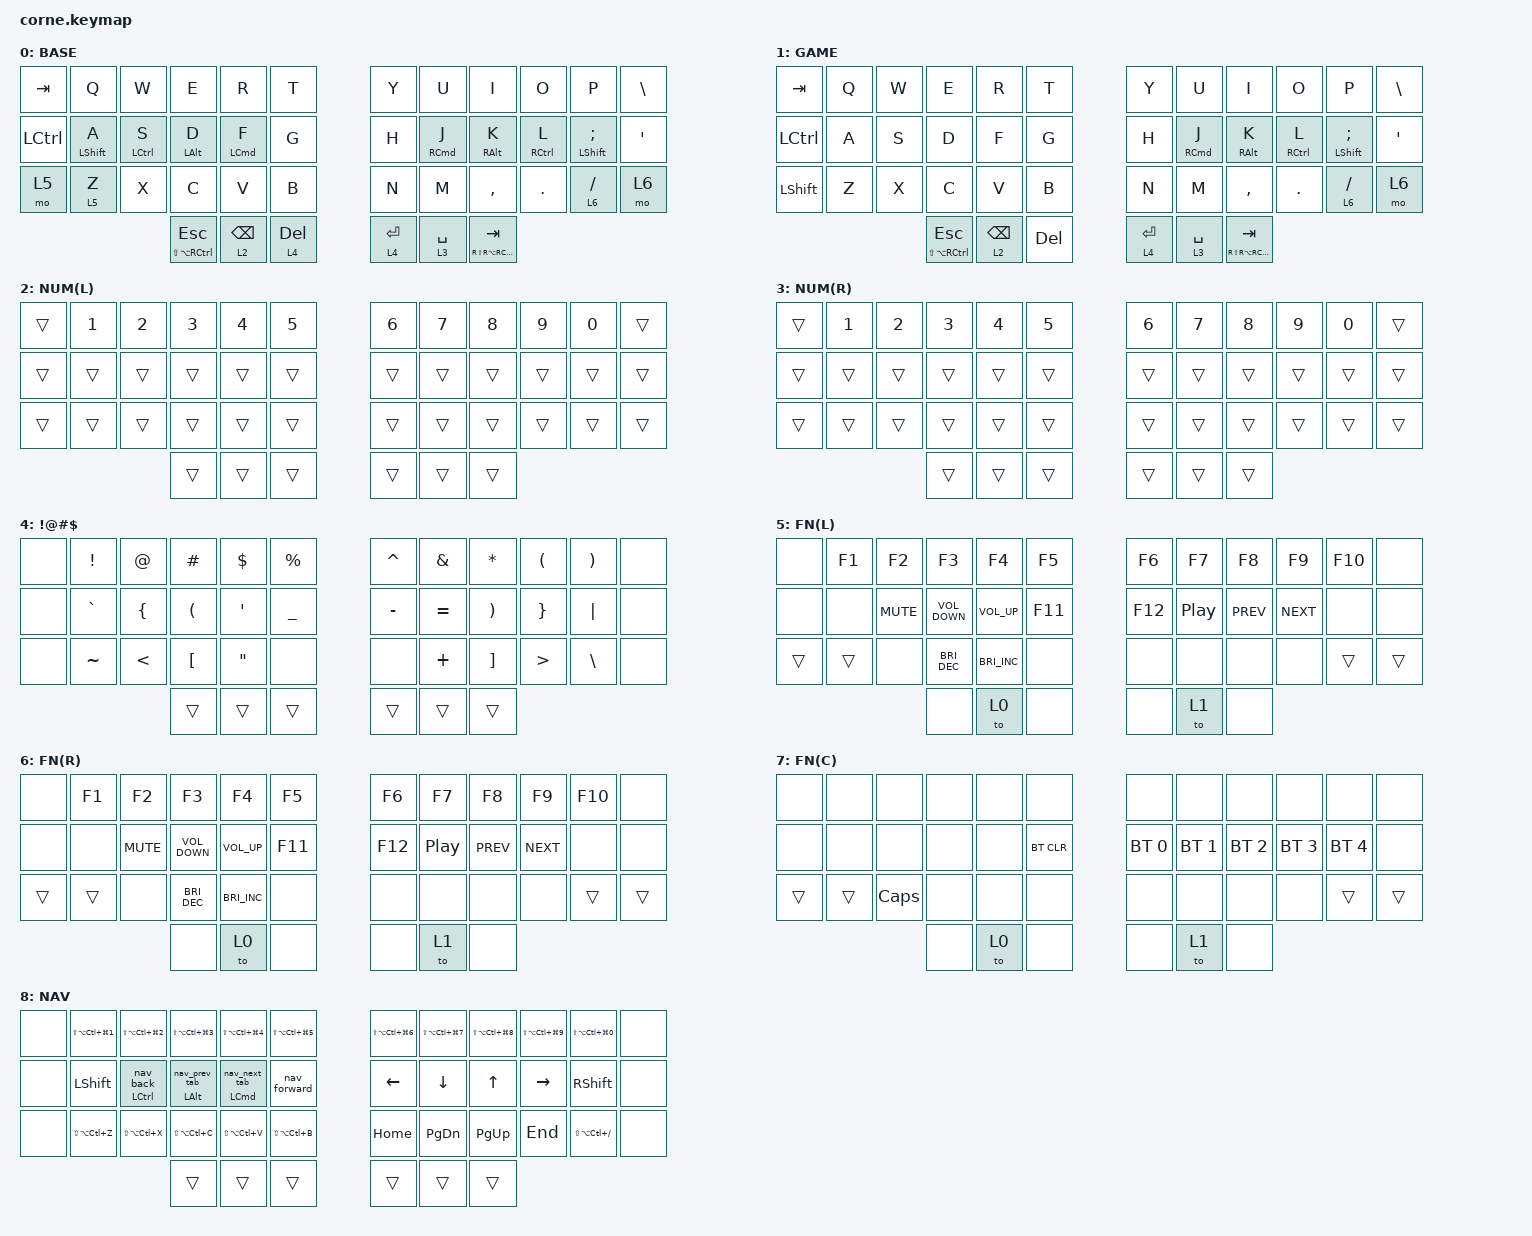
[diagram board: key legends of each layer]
/*
 * Copyright (c) 2020 The ZMK Contributors
 *
 * SPDX-License-Identifier: MIT
 */

#include <behaviors.dtsi>
#include <dt-bindings/zmk/bt.h>
#include <dt-bindings/zmk/keys.h>

&lt {
    tapping-term-ms = <250>;
    flavor = "balanced";
    quick-tap-ms = <220>;
    hold-trigger-on-release;
};

&mt {
    hold-trigger-on-release;
    tapping-term-ms = <275>;
    quick-tap-ms = <275>;
    require-prior-idle-ms = <100>;
    flavor = "balanced";
};

/ {
    behaviors {
        hml: hml {
            compatible = "zmk,behavior-hold-tap";
            label = "HOME_ROW_MODS_LEFT";
            bindings = <&kp>, <&kp>;

            #binding-cells = <2>;
            tapping-term-ms = <250>;
            flavor = "balanced";
            quick-tap-ms = <220>;
            require-prior-idle-ms = <100>;
            hold-trigger-on-release;
            hold-trigger-key-positions = <6 7 8 9 10 11 18 19 20 21 22 23 30 31 32 33 34 35 39 40 41>;
        };

        hmr: hmr {
            compatible = "zmk,behavior-hold-tap";
            label = "HOME_ROW_MODS_RIGHT";
            bindings = <&kp>, <&kp>;

            #binding-cells = <2>;
            tapping-term-ms = <250>;
            flavor = "balanced";
            hold-trigger-on-release;
            quick-tap-ms = <220>;
            require-prior-idle-ms = <100>;
            hold-trigger-key-positions = <0 1 2 3 4 5 12 13 14 15 16 17 24 25 26 27 28 29 36 37 38>;
        };

        hnpt: hnpt {
            compatible = "zmk,behavior-hold-tap";
            label = "HRM Nav Prev Tab";
            bindings = <&kp>, <&nav_prev_tab>;

            #binding-cells = <2>;
            tapping-term-ms = <275>;
            flavor = "balanced";
            quick-tap-ms = <275>;
            require-prior-idle-ms = <100>;
            hold-trigger-on-release;
            hold-trigger-key-positions = <6 7 8 9 10 11 18 19 20 21 22 23 30 31 32 33 34 35 39 40 41>;
        };

        hnnt: hnnt {
            compatible = "zmk,behavior-hold-tap";
            label = "HRM Nav Next Tab";
            bindings = <&kp>, <&nav_next_tab>;

            #binding-cells = <2>;
            tapping-term-ms = <275>;
            flavor = "balanced";
            quick-tap-ms = <275>;
            require-prior-idle-ms = <100>;
            hold-trigger-on-release;
            hold-trigger-key-positions = <6 7 8 9 10 11 18 19 20 21 22 23 30 31 32 33 34 35 39 40 41>;
        };

        hnb: hnb {
            compatible = "zmk,behavior-hold-tap";
            label = "HRM Nav Back";
            bindings = <&kp>, <&nav_back>;

            #binding-cells = <2>;
            tapping-term-ms = <275>;
            flavor = "balanced";
            quick-tap-ms = <275>;
            require-prior-idle-ms = <100>;
            hold-trigger-on-release;
            hold-trigger-key-positions = <6 7 8 9 10 11 18 19 20 21 22 23 30 31 32 33 34 35 39 40 41>;
        };
    };

    macros {
        nav_back: nav_back {
            compatible = "zmk,behavior-macro";
            #binding-cells = <0>;
            bindings = <&kp LG(LC(LS(LEFT_BRACKET)))>;
            label = "NAV_BACK";
        };

        nav_forward: nav_forward {
            compatible = "zmk,behavior-macro";
            #binding-cells = <0>;
            bindings = <&kp LG(LC(LS(RIGHT_BRACKET)))>;
            label = "NAV_FORWARD";
        };

        nav_prev_tab: nav_prev_tab {
            compatible = "zmk,behavior-macro";
            #binding-cells = <0>;
            bindings = <&kp LG(LA(LS(LEFT_BRACKET)))>;
            label = "NAV_PREV_TAB";
        };

        nav_next_tab: nav_next_tab {
            compatible = "zmk,behavior-macro";
            #binding-cells = <0>;
            bindings = <&kp LG(LA(LS(RIGHT_BRACKET)))>;
            label = "NAV_NEXT_TAB";
        };
    };

    combos {
        compatible = "zmk,combos";

        capslock {
            bindings = <&kp CAPSLOCK>;
            key-positions = <13 22>;
            require-prior-idle-ms = <150>;
            timeout-ms = <30>;
        };
    };

    keymap {
        compatible = "zmk,keymap";

        base {
            // -----------------------------------------------------------------------------------------
            // |  TAB |  Q  |  W  |  E  |  R  |  T  |   |  Y  |  U   |  I  |  O  |  P  | BSPC |
            // | CTRL |  A  |  S  |  D  |  F  |  G  |   |  H  |  J   |  K  |  L  |  ;  |  '   |
            // | SHFT |  Z  |  X  |  C  |  V  |  B  |   |  N  |  M   |  ,  |  .  |  /  | ESC  |
            //                    | GUI | LWR | SPC |   | ENT | RSE  | ALT |

            bindings = <
&kp TAB           &kp Q              &kp W                &kp E                     &kp R                &kp T           &kp Y        &kp U                 &kp I                          &kp O                 &kp P                 &kp BACKSLASH
&kp LEFT_CONTROL  &hml LEFT_SHIFT A  &hml LEFT_CONTROL S  &hml LEFT_ALT D           &hml LEFT_COMMAND F  &kp G           &kp H        &hmr RIGHT_COMMAND J  &hmr RIGHT_ALT K               &hmr RIGHT_CONTROL L  &hmr LEFT_SHIFT SEMI  &kp APOS
&mo 5             &lt 5 Z            &kp X                &kp C                     &kp V                &kp B           &kp N        &kp M                 &kp COMMA                      &kp DOT               &lt 6 SLASH           &mo 6
                                                          &mt LS(LA(RCTRL)) ESCAPE  &lt 2 BACKSPACE      &lt 4 DELETE    &lt 4 ENTER  &lt 3 SPACE           &mt RS(RA(RC(RIGHT_GUI))) TAB
            >;

            label = "BASE";
        };

        game {
            label = "GAME";
            bindings = <
&kp TAB           &kp Q  &kp W  &kp E                     &kp R            &kp T         &kp Y        &kp U                 &kp I                          &kp O                 &kp P                 &kp BACKSLASH
&kp LEFT_CONTROL  &kp A  &kp S  &kp D                     &kp F            &kp G         &kp H        &hmr RIGHT_COMMAND J  &hmr RIGHT_ALT K               &hmr RIGHT_CONTROL L  &hmr LEFT_SHIFT SEMI  &kp APOS
&kp LEFT_SHIFT    &kp Z  &kp X  &kp C                     &kp V            &kp B         &kp N        &kp M                 &kp COMMA                      &kp DOT               &lt 6 SLASH           &mo 6
                                &mt LS(LA(RCTRL)) ESCAPE  &lt 2 BACKSPACE  &kp DELETE    &lt 4 ENTER  &lt 3 SPACE           &mt RS(RA(RC(RIGHT_GUI))) TAB
            >;
        };

        numbers_left {
            bindings = <
&trans  &kp N1  &kp N2  &kp N3  &kp N4  &kp N5    &kp N6  &kp N7  &kp N8  &kp N9  &kp N0  &trans
&trans  &trans  &trans  &trans  &trans  &trans    &trans  &trans  &trans  &trans  &trans  &trans
&trans  &trans  &trans  &trans  &trans  &trans    &trans  &trans  &trans  &trans  &trans  &trans
                        &trans  &trans  &trans    &trans  &trans  &trans
            >;

            label = "NUM(L)";
        };

        numbers_right {
            // -----------------------------------------------------------------------------------------
            // |  TAB |  1  |  2  |  3  |  4  |  5  |   |  6  |  7  |  8  |  9  |  0  | BSPC |
            // | BTCLR| BT1 | BT2 | BT3 | BT4 | BT5 |   | LFT | DWN |  UP | RGT |     |      |
            // | SHFT |     |     |     |     |     |   |     |     |     |     |     |      |
            //                    | GUI |     | SPC |   | ENT |     | ALT |

            bindings = <
&trans  &kp N1  &kp N2  &kp N3  &kp N4  &kp N5    &kp N6  &kp N7  &kp N8  &kp N9  &kp N0  &trans
&trans  &trans  &trans  &trans  &trans  &trans    &trans  &trans  &trans  &trans  &trans  &trans
&trans  &trans  &trans  &trans  &trans  &trans    &trans  &trans  &trans  &trans  &trans  &trans
                        &trans  &trans  &trans    &trans  &trans  &trans
            >;

            label = "NUM(R)";
        };

        symbols {
            // -----------------------------------------------------------------------------------------
            // |  TAB |  !  |  @  |  #  |  $  |  %  |   |  ^  |  &  |  *  |  (  |  )  | BSPC |
            // | CTRL |     |     |     |     |     |   |  -  |  =  |  [  |  ]  |  \  |  `   |
            // | SHFT |     |     |     |     |     |   |  _  |  +  |  {  |  }  | "|" |  ~   |
            //                    | GUI |     | SPC |   | ENT |     | ALT |

            bindings = <
&none  &kp EXCL   &kp AT          &kp HASH              &kp DOLLAR         &kp PERCENT    &kp CARET  &kp AMPS   &kp ASTRK              &kp LPAR          &kp RPAR       &none
&none  &kp GRAVE  &kp LEFT_BRACE  &kp LEFT_PARENTHESIS  &kp SINGLE_QUOTE   &kp UNDER      &kp MINUS  &kp EQUAL  &kp RIGHT_PARENTHESIS  &kp RIGHT_BRACE   &kp PIPE       &none
&none  &kp TILDE  &kp LESS_THAN   &kp LEFT_BRACKET      &kp DOUBLE_QUOTES  &none          &none      &kp PLUS   &kp RIGHT_BRACKET      &kp GREATER_THAN  &kp BACKSLASH  &none
                                  &trans                &trans             &trans         &trans     &trans     &trans
            >;

            label = "!@#$";
        };

        function_left {
            bindings = <
&none   &kp F1  &kp F2      &kp F3                &kp F4                &kp F5     &kp F6   &kp F7            &kp F8      &kp F9      &kp F10  &none
&none   &none   &kp C_MUTE  &kp C_VOLUME_DOWN     &kp C_VOLUME_UP       &kp F11    &kp F12  &kp C_PLAY_PAUSE  &kp C_PREV  &kp C_NEXT  &none    &none
&trans  &trans  &none       &kp C_BRIGHTNESS_DEC  &kp C_BRIGHTNESS_INC  &none      &none    &none             &none       &none       &trans   &trans
                            &none                 &to 0                 &none      &none    &to 1             &none
            >;

            label = "FN(L)";
        };

        function_right {
            label = "FN(R)";
            bindings = <
&none   &kp F1  &kp F2      &kp F3                &kp F4                &kp F5     &kp F6   &kp F7            &kp F8      &kp F9      &kp F10  &none
&none   &none   &kp C_MUTE  &kp C_VOLUME_DOWN     &kp C_VOLUME_UP       &kp F11    &kp F12  &kp C_PLAY_PAUSE  &kp C_PREV  &kp C_NEXT  &none    &none
&trans  &trans  &none       &kp C_BRIGHTNESS_DEC  &kp C_BRIGHTNESS_INC  &none      &none    &none             &none       &none       &trans   &trans
                            &none                 &to 0                 &none      &none    &to 1             &none
            >;
        };

        function_conditional {
            label = "FN(C)";
            bindings = <
&none   &none   &none         &none  &none  &none         &none         &none         &none         &none         &none         &none
&none   &none   &none         &none  &none  &bt BT_CLR    &bt BT_SEL 0  &bt BT_SEL 1  &bt BT_SEL 2  &bt BT_SEL 3  &bt BT_SEL 4  &none
&trans  &trans  &kp CAPSLOCK  &none  &none  &none         &none         &none         &none         &none         &trans        &trans
                              &none  &to 0  &none         &none         &to 1         &none
            >;
        };

        navigation {
            bindings = <
&none  &kp LS(LA(LC(LG(NUMBER_1))))  &kp LS(LA(LC(LG(NUMBER_2))))  &kp LS(LA(LC(LG(NUMBER_3))))  &kp LS(LA(LC(LG(NUMBER_4))))  &kp LS(LA(LC(LG(NUMBER_5))))    &kp LS(LA(LC(LG(NUMBER_6))))  &kp LS(LA(LC(LG(NUMBER_7))))  &kp LS(LA(LC(LG(NUMBER_8))))  &kp LS(LA(LC(LG(NUMBER_9))))  &kp LS(LA(LC(LG(NUMBER_0))))  &none
&none  &kp LEFT_SHIFT                &hnb LEFT_CONTROL 0           &hnpt LEFT_ALT 0              &hnnt LEFT_COMMAND 0          &nav_forward                    &kp LEFT_ARROW                &kp DOWN_ARROW                &kp UP_ARROW                  &kp RIGHT_ARROW               &kp RIGHT_SHIFT               &none
&none  &kp LS(LA(LC(Z)))             &kp LS(LA(LC(X)))             &kp LS(LA(LC(C)))             &kp LS(LA(LC(V)))             &kp LS(LA(LC(B)))               &kp HOME                      &kp PAGE_DOWN                 &kp PAGE_UP                   &kp END                       &kp LS(LA(LC(SLASH)))         &none
                                                                   &trans                        &trans                        &trans                          &trans                        &trans                        &trans
            >;

            label = "NAV";
        };
    };

    conditional_layers {
        compatible = "zmk,conditional-layers";

        Function {
            if-layers = <5 6>;
            then-layer = <7>;
        };

        Navigation {
            if-layers = <2 3>;
            then-layer = <8>;
        };
    };
};
